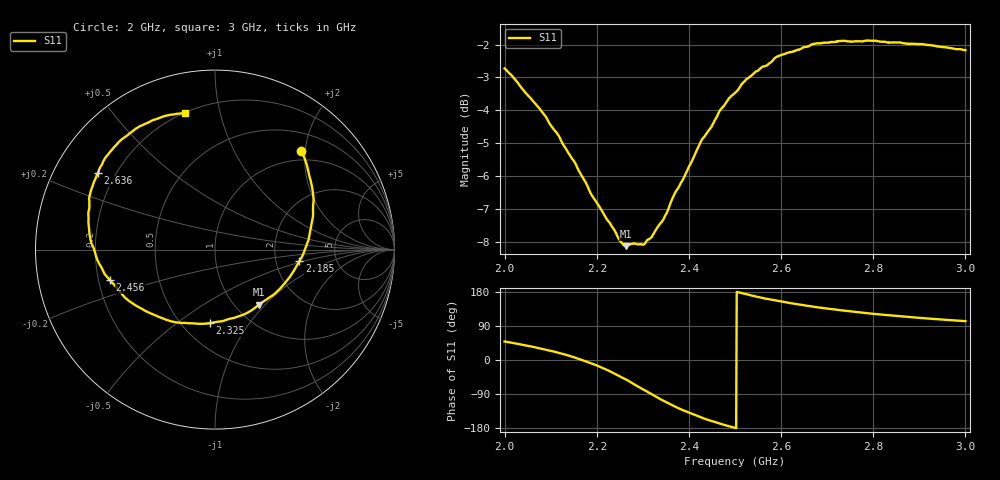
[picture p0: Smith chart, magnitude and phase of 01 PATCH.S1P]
!Agilent Technologies,E5071C,MY46105125,A.08.12
!Date: Tue Sep 16 09:35:54 2014
!Data & Calibration Information:
!Freq	S11:SOLT1(ON)
# Hz S RI R 50
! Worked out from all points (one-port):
!   801 points, 2 GHz to 3 GHz, reference 50 ohm
!   lowest |S11| = -8.1 dB at 2.264 GHz (marker M1), VSWR 2.29, Z = 63.4 - j46.1 ohm
!   |S11| at or under -10 dB: nowhere
!   S11 on the Smith chart (normalised r, x): 2 GHz: 0.82, +1.93; 2.185 GHz: 2.72, -0.45; 2.325 GHz: 0.68, -0.67; 2.456 GHz: 0.25, -0.13; 2.636 GHz: 0.13, +0.29; 3 GHz: 0.20, +0.78
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2e9  0.4816 0.5493
2.07625e9  0.5447 0.3247
2.125e9  0.54 0.158
2.15375e9  0.5204 0.0527
2.185e9  0.4703 -0.0633
2.2225e9  0.3855 -0.1906
2.25e9  0.2897 -0.2756
2.26375e9  0.2428 -0.3076
2.28875e9  0.1372 -0.3697
2.325e9  -0.0301 -0.4102
2.35875e9  -0.1985 -0.4077
2.375e9  -0.2821 -0.3866
2.41625e9  -0.4557 -0.3026
2.43125e9  -0.5142 -0.2532
2.45625e9  -0.5848 -0.1713
2.4725e9  -0.627 -0.1109
2.5e9  -0.6704 -0.0096
2.5225e9  -0.6966 0.0708
2.55625e9  -0.7054 0.1935
2.59e9  -0.6992 0.3
2.625e9  -0.6652 0.3976
2.63625e9  -0.6535 0.4259
2.68125e9  -0.5988 0.527
2.75e9  -0.4967 0.6298
2.80625e9  -0.4154 0.6889
2.875e9  -0.3195 0.7298
2.92875e9  -0.2523 0.7503
3e9  -0.1681 0.7603
